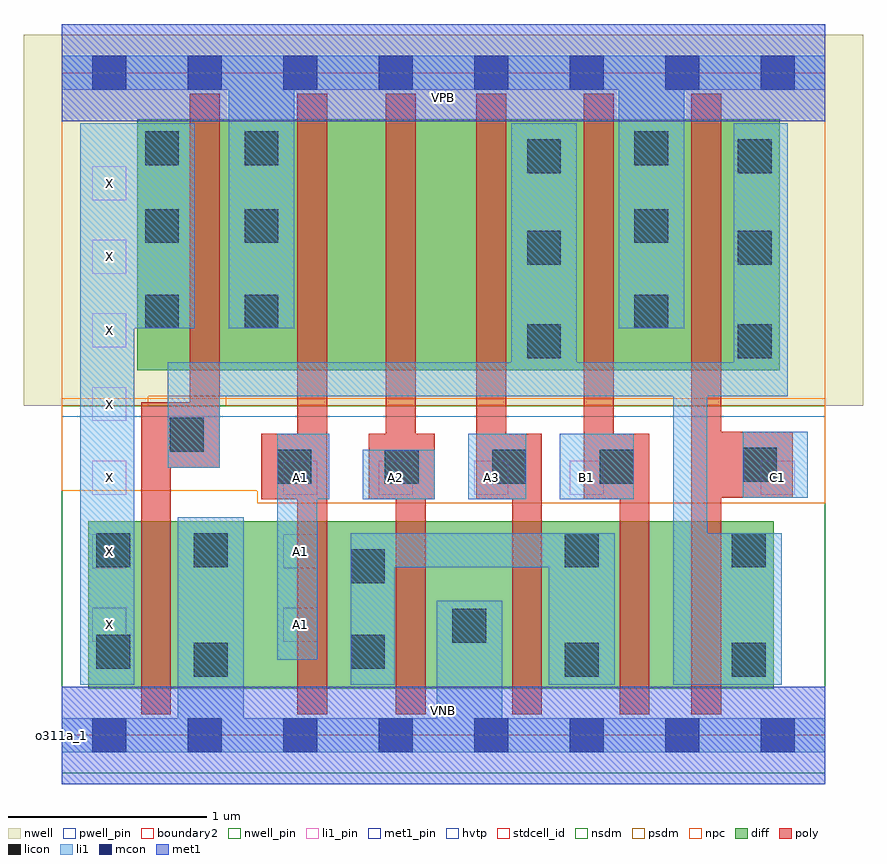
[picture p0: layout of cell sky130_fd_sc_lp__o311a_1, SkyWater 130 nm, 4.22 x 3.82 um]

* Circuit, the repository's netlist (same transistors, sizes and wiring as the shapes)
* Copyright 2020 The SkyWater PDK Authors
*
* Licensed under the Apache License, Version 2.0 (the "License");
* you may not use this file except in compliance with the License.
* You may obtain a copy of the License at
*
*     https://www.apache.org/licenses/LICENSE-2.0
*
* Unless required by applicable law or agreed to in writing, software
* distributed under the License is distributed on an "AS IS" BASIS,
* WITHOUT WARRANTIES OR CONDITIONS OF ANY KIND, either express or implied.
* See the License for the specific language governing permissions and
* limitations under the License.
*
* SPDX-License-Identifier: Apache-2.0

.SUBCKT sky130_fd_sc_lp__o311a_1 A1 A2 A3 B1 C1 VGND VNB VPB VPWR X
*.PININFO A1:I A2:I A3:I B1:I C1:I VGND:I VNB:I VPB:I VPWR:I X:O
MMPA0 VPWR A1 sndA1 VPB sky130_fd_pr__pfet_01v8_hvt m=1 w=1.26U l=0.15U mult=1
+ sa=0.265 sb=0.265 sd=0.28 area=0.063 perim=1.14
MMPA1 sndA1 A2 sndA2 VPB sky130_fd_pr__pfet_01v8_hvt m=1 w=1.26U l=0.15U mult=1
+ sa=0.265 sb=0.265 sd=0.28 area=0.063 perim=1.14
MMPA2 sndA2 A3 y VPB sky130_fd_pr__pfet_01v8_hvt m=1 w=1.26U l=0.15U mult=1 sa=0.265
+ sb=0.265 sd=0.28 area=0.063 perim=1.14
MMPB0 VPWR B1 y VPB sky130_fd_pr__pfet_01v8_hvt m=1 w=1.26U l=0.15U mult=1 sa=0.265
+ sb=0.265 sd=0.28 area=0.063 perim=1.14
MMPC0 VPWR C1 y VPB sky130_fd_pr__pfet_01v8_hvt m=1 w=1.26U l=0.15U mult=1 sa=0.265
+ sb=0.265 sd=0.28 area=0.063 perim=1.14
MMIPX X y VPWR VPB sky130_fd_pr__pfet_01v8_hvt m=1 w=1.26U l=0.15U mult=1 sa=0.265
+ sb=0.265 sd=0.28 area=0.063 perim=1.14
MMNA0 pndA A1 VGND VNB sky130_fd_pr__nfet_01v8 m=1 w=0.84U l=0.15U mult=1 sa=0.265
+ sb=0.265 sd=0.28 area=0.063 perim=1.14
MMNA1 pndA A2 VGND VNB sky130_fd_pr__nfet_01v8 m=1 w=0.84U l=0.15U mult=1 sa=0.265
+ sb=0.265 sd=0.28 area=0.063 perim=1.14
MMNA2 pndA A3 VGND VNB sky130_fd_pr__nfet_01v8 m=1 w=0.84U l=0.15U mult=1 sa=0.265
+ sb=0.265 sd=0.28 area=0.063 perim=1.14
MMNB0 pndB B1 pndA VNB sky130_fd_pr__nfet_01v8 m=1 w=0.84U l=0.15U mult=1 sa=0.265
+ sb=0.265 sd=0.28 area=0.063 perim=1.14
MMNC0 y C1 pndB VNB sky130_fd_pr__nfet_01v8 m=1 w=0.84U l=0.15U mult=1 sa=0.265
+ sb=0.265 sd=0.28 area=0.063 perim=1.14
MMINX X y VGND VNB sky130_fd_pr__nfet_01v8 m=1 w=0.84U l=0.15U mult=1 sa=0.265
+ sb=0.265 sd=0.28 area=0.063 perim=1.14
.ENDS sky130_fd_sc_lp__o311a_1

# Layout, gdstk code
import gdstk
lib = gdstk.Library(unit=1e-6, precision=1e-09)
def R(c, l, rs):  # rectangles x0, y0, x1, y1
    for r in rs: c.add(gdstk.rectangle(r[:2], r[2:], *l))
def A(c, l, x, y, w, h, nx, ny, dx, dy):  # array of equal rectangles
    R(c, l, [(x+i*dx, y+j*dy, x+i*dx+w, y+j*dy+h) for i in range(nx) for j in range(ny)])
def P(c, l, *ps):  # polygons
    for p in ps: c.add(gdstk.Polygon(p, *l))
nwell_pin = (64, 16)
nwell = (64, 20)
diff = (65, 20)
poly = (66, 20)
licon = (66, 44)
li1_pin = (67, 16)
li1 = (67, 20)
mcon = (67, 44)
met1_pin = (68, 16)
met1 = (68, 20)
hvtp = (78, 44)
stdcell_id = (81, 4)
nsdm = (93, 44)
psdm = (94, 20)
npc = (95, 20)
pwell_pin = (122, 16)
boundary2 = (236, 0)

sky130_fd_sc_lp__o311a_1 = lib.new_cell('sky130_fd_sc_lp__o311a_1')
R(sky130_fd_sc_lp__o311a_1, nwell_pin, [(0,3.085,3.84,3.33)])
R(sky130_fd_sc_lp__o311a_1, nwell, [(-0.19,1.655,4.03,3.52)])
R(sky130_fd_sc_lp__o311a_1, diff, [(0.135,0.235,3.58,1.075), (0.38,1.835,3.61,3.095)])
P(sky130_fd_sc_lp__o311a_1, poly, [(0.795,3.225),(0.645,3.225),(0.645,1.675),(0.4,1.675),(0.4,0.105),(0.55,0.105),(0.55,1.345),(0.795,1.345)],
  [(1.335,3.225),(1.185,3.225),(1.185,1.515),(1.005,1.515),(1.005,1.185),(1.185,1.185),(1.185,0.105),(1.335,0.105)],
  [(1.875,1.515),(1.78,1.515),(1.78,3.225),(1.63,3.225),(1.63,1.515),(1.545,1.515),(1.545,1.185),(1.68,1.185),(1.68,0.105),(1.83,0.105),(1.83,1.185),(1.875,1.185)],
  [(2.415,1.515),(2.235,1.515),(2.235,3.225),(2.085,3.225),(2.085,1.185),(2.265,1.185),(2.265,0.105),(2.415,0.105)],
  [(2.955,1.515),(2.775,1.515),(2.775,3.225),(2.625,3.225),(2.625,1.185),(2.805,1.185),(2.805,0.105),(2.955,0.105)],
  [(3.675,1.525),(3.315,1.525),(3.315,3.225),(3.165,3.225),(3.165,0.105),(3.315,0.105),(3.315,1.195),(3.675,1.195)])
A(sky130_fd_sc_lp__o311a_1, licon, 1.085, 1.265, 0.17, 0.17, 4, 1, 0.54, 0)
R(sky130_fd_sc_lp__o311a_1, licon, [(0.665,0.295,0.835,0.465), (2.53,0.295,2.7,0.465), (3.37,0.295,3.54,0.465), (0.175,0.335,0.345,0.505), (1.455,0.335,1.625,0.505), (1.965,0.465,2.135,0.635), (1.455,0.765,1.625,0.935), (0.175,0.845,0.345,1.015), (0.665,0.845,0.835,1.015), (2.53,0.845,2.7,1.015), (3.37,0.845,3.54,1.015), (3.425,1.275,3.595,1.445), (0.545,1.425,0.715,1.595), (2.34,1.895,2.51,2.065), (3.4,1.895,3.57,2.065), (0.42,2.045,0.59,2.215), (0.92,2.045,1.09,2.215), (2.88,2.045,3.05,2.215), (2.34,2.365,2.51,2.535), (3.4,2.365,3.57,2.535), (0.42,2.475,0.59,2.645), (0.92,2.475,1.09,2.645), (2.88,2.475,3.05,2.645), (2.34,2.825,2.51,2.995), (3.4,2.825,3.57,2.995), (0.42,2.865,0.59,3.035), (0.92,2.865,1.09,3.035), (2.88,2.865,3.05,3.035)])
A(sky130_fd_sc_lp__o311a_1, li1_pin, 0.155, 0.47, 0.17, 0.17, 1, 7, 0, 0.37)
A(sky130_fd_sc_lp__o311a_1, li1_pin, 1.115, 1.21, 0.17, 0.17, 4, 1, 0.48, 0)
R(sky130_fd_sc_lp__o311a_1, li1_pin, [(1.115,0.47,1.285,0.64), (1.115,0.84,1.285,1.01), (3.515,1.21,3.685,1.38)])
R(sky130_fd_sc_lp__o311a_1, li1, [(1.515,1.185,1.875,1.435), (2.045,1.185,2.335,1.515), (2.505,1.185,2.875,1.515), (3.425,1.195,3.75,1.525)])
P(sky130_fd_sc_lp__o311a_1, li1, [(0.67,3.075),(0.095,3.075),(0.095,0.255),(0.365,0.255),(0.365,2.045),(0.67,2.045)],
  [(1.345,1.515),(1.085,1.515),(1.085,0.38),(1.285,0.38),(1.285,1.185),(1.345,1.185)],
  [(2.78,1.015),(1.455,1.015),(1.455,0.255),(1.675,0.255),(1.675,0.845),(2.45,0.845),(2.45,0.255),(2.78,0.255)],
  [(3.65,3.075),(3.38,3.075),(3.38,1.875),(2.59,1.875),(2.59,3.075),(2.26,3.075),(2.26,1.875),(0.535,1.875),(0.535,1.345),(0.795,1.345),(0.795,1.705),(3.075,1.705),(3.075,0.255),(3.62,0.255),(3.62,1.015),(3.245,1.015),(3.245,1.705),(3.65,1.705)],
  [(3.84,3.415),(0,3.415),(0,3.245),(0.84,3.245),(0.84,2.045),(1.17,2.045),(1.17,3.245),(2.8,3.245),(2.8,2.045),(3.13,2.045),(3.13,3.245),(3.84,3.245)],
  [(3.84,0.085),(2.215,0.085),(2.215,0.675),(1.885,0.675),(1.885,0.085),(0.915,0.085),(0.915,1.095),(0.585,1.095),(0.585,0.085),(0,0.085),(0,-0.085),(3.84,-0.085)])
A(sky130_fd_sc_lp__o311a_1, mcon, 0.155, -0.085, 0.17, 0.17, 8, 2, 0.48, 3.33)
R(sky130_fd_sc_lp__o311a_1, met1_pin, [(0,0,3.84,0.245), (0,3.085,3.84,3.33)])
R(sky130_fd_sc_lp__o311a_1, met1, [(0,-0.245,3.84,0.245), (0,3.085,3.84,3.575)])
R(sky130_fd_sc_lp__o311a_1, hvtp, [(0,1.6,3.84,3.33)])
R(sky130_fd_sc_lp__o311a_1, stdcell_id, [(0,0,3.84,3.33)])
R(sky130_fd_sc_lp__o311a_1, nsdm, [(0,-0.19,3.84,1.655)])
P(sky130_fd_sc_lp__o311a_1, psdm, [(3.84,3.52),(0,3.52),(0,1.655),(0.435,1.655),(0.435,1.705),(0.825,1.705),(0.825,1.655),(3.84,1.655)])
P(sky130_fd_sc_lp__o311a_1, npc, [(3.84,1.695),(0,1.695),(0,1.23),(0.985,1.23),(0.985,1.165),(3.84,1.165)])
R(sky130_fd_sc_lp__o311a_1, pwell_pin, [(0,0,3.84,0.245)])
R(sky130_fd_sc_lp__o311a_1, boundary2, [(0,0,3.84,3.33)])
sky130_fd_sc_lp__o311a_1.add(gdstk.Label('VNB', (1.92,0.123), layer=64, texttype=59))
sky130_fd_sc_lp__o311a_1.add(gdstk.Label('VPB', (1.92,3.208), layer=64, texttype=5))
sky130_fd_sc_lp__o311a_1.add(gdstk.Label('o311a_1', (0,0), layer=83, texttype=44))
sky130_fd_sc_lp__o311a_1.add(gdstk.Label('VPWR', (1.92,3.208), layer=68, texttype=5))
sky130_fd_sc_lp__o311a_1.add(gdstk.Label('VGND', (1.92,0.123), layer=68, texttype=5))
sky130_fd_sc_lp__o311a_1.add(gdstk.Label('A1', (1.2,0.555), layer=67, texttype=5))
sky130_fd_sc_lp__o311a_1.add(gdstk.Label('A1', (1.2,0.925), layer=67, texttype=5))
sky130_fd_sc_lp__o311a_1.add(gdstk.Label('A1', (1.2,1.295), layer=67, texttype=5))
sky130_fd_sc_lp__o311a_1.add(gdstk.Label('A2', (1.68,1.295), layer=67, texttype=5))
sky130_fd_sc_lp__o311a_1.add(gdstk.Label('A3', (2.16,1.295), layer=67, texttype=5))
sky130_fd_sc_lp__o311a_1.add(gdstk.Label('B1', (2.64,1.295), layer=67, texttype=5))
sky130_fd_sc_lp__o311a_1.add(gdstk.Label('C1', (3.6,1.295), layer=67, texttype=5))
sky130_fd_sc_lp__o311a_1.add(gdstk.Label('X', (0.24,0.555), layer=67, texttype=5))
sky130_fd_sc_lp__o311a_1.add(gdstk.Label('X', (0.24,0.925), layer=67, texttype=5))
sky130_fd_sc_lp__o311a_1.add(gdstk.Label('X', (0.24,1.295), layer=67, texttype=5))
sky130_fd_sc_lp__o311a_1.add(gdstk.Label('X', (0.24,1.665), layer=67, texttype=5))
sky130_fd_sc_lp__o311a_1.add(gdstk.Label('X', (0.24,2.035), layer=67, texttype=5))
sky130_fd_sc_lp__o311a_1.add(gdstk.Label('X', (0.24,2.405), layer=67, texttype=5))
sky130_fd_sc_lp__o311a_1.add(gdstk.Label('X', (0.24,2.775), layer=67, texttype=5))

lib.write_gds('sky130_fd_sc_lp__o311a_1.gds')
